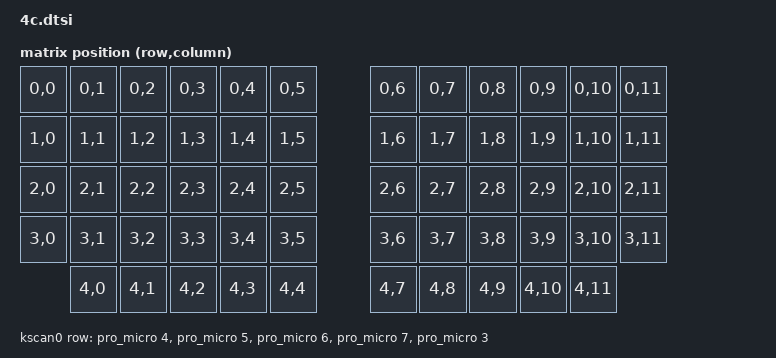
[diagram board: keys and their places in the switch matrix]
/*
https://zmk-physical-layout-converter.streamlit.app/?layout=H4sIAAAAAAACA43RsW7CMBRG4Z2nsDIjlP_euLTMfQvEkAGmSAyAVBTl3TEUBau61WGCXB85jr9xkVIz9Nfj5XxqNmksj2XwvT_0l-E8D-amTLbPSUpjan7KoF21y9RcH_9ympZ_11Wt-zoIrApkQeBV0AbrHW2Qq8DCM5ajQ6GqCF8iq4romHLcoquK8K6UqyI650tDoCHSEGkINEQaQg2hhlBDpCHUEGoINAw0jDSMNAw0jDQMNQw1DDWMNAw1DDUMNBw0nDScNBw0nDQcNRw1HDWcNBw1HDXi237dRY4_JFPw8X7QxcGadvicP-Kf4GsOOgoyimYU_S2ewe7xe3-aFtMNK-NlRcoHAAA%3D

#include <physical_layouts.dtsi>

/ {
    physical_layout0: physical_layout_0 {
        compatible = "zmk,physical-layout";
        display-name = "Default";

        kscan = <&kscan0>;
        transform = <&matrix_transform0>;

        keys  //                     w   h    x    y     rot    rx    ry
            = <&key_physical_attrs 100 100    0   50       0     0     0>
            , <&key_physical_attrs 100 100  100   37       0     0     0>
            , <&key_physical_attrs 100 100  200   12       0     0     0>
            , <&key_physical_attrs 100 100  300    0       0     0     0>
            , <&key_physical_attrs 100 100  400   12       0     0     0>
            , <&key_physical_attrs 100 100  500   25       0     0     0>
            , <&key_physical_attrs 100 100 1050   25       0     0     0>
            , <&key_physical_attrs 100 100 1150   12       0     0     0>
            , <&key_physical_attrs 100 100 1250    0       0     0     0>
            , <&key_physical_attrs 100 100 1350   12       0     0     0>
            , <&key_physical_attrs 100 100 1450   37       0     0     0>
            , <&key_physical_attrs 100 100 1550   50       0     0     0>
            , <&key_physical_attrs 100 100    0  150       0     0     0>
            , <&key_physical_attrs 100 100  100  137       0     0     0>
            , <&key_physical_attrs 100 100  200  112       0     0     0>
            , <&key_physical_attrs 100 100  300  100       0     0     0>
            , <&key_physical_attrs 100 100  400  112       0     0     0>
            , <&key_physical_attrs 100 100  500  125       0     0     0>
            , <&key_physical_attrs 100 100 1050  125       0     0     0>
            , <&key_physical_attrs 100 100 1150  112       0     0     0>
            , <&key_physical_attrs 100 100 1250  100       0     0     0>
            , <&key_physical_attrs 100 100 1350  112       0     0     0>
            , <&key_physical_attrs 100 100 1450  137       0     0     0>
            , <&key_physical_attrs 100 100 1550  150       0     0     0>
            , <&key_physical_attrs 100 100    0  250       0     0     0>
            , <&key_physical_attrs 100 100  100  237       0     0     0>
            , <&key_physical_attrs 100 100  200  212       0     0     0>
            , <&key_physical_attrs 100 100  300  200       0     0     0>
            , <&key_physical_attrs 100 100  400  212       0     0     0>
            , <&key_physical_attrs 100 100  500  225       0     0     0>
            , <&key_physical_attrs 100 100 1050  225       0     0     0>
            , <&key_physical_attrs 100 100 1150  212       0     0     0>
            , <&key_physical_attrs 100 100 1250  200       0     0     0>
            , <&key_physical_attrs 100 100 1350  212       0     0     0>
            , <&key_physical_attrs 100 100 1450  237       0     0     0>
            , <&key_physical_attrs 100 100 1550  250       0     0     0>
            , <&key_physical_attrs 100 100    0  350       0     0     0>
            , <&key_physical_attrs 100 100  100  337       0     0     0>
            , <&key_physical_attrs 100 100  200  312       0     0     0>
            , <&key_physical_attrs 100 100  300  300       0     0     0>
            , <&key_physical_attrs 100 100  400  312       0     0     0>
            , <&key_physical_attrs 100 100  500  325       0     0     0>
            , <&key_physical_attrs 100 100 1050  325       0     0     0>
            , <&key_physical_attrs 100 100 1150  312       0     0     0>
            , <&key_physical_attrs 100 100 1250  300       0     0     0>
            , <&key_physical_attrs 100 100 1350  312       0     0     0>
            , <&key_physical_attrs 100 100 1450  337       0     0     0>
            , <&key_physical_attrs 100 100 1550  350       0     0     0>
            , <&key_physical_attrs 100 100  400  525       0     0     0>
            , <&key_physical_attrs 100 100  500  525       0     0     0>
            , <&key_physical_attrs 100 100  600  525       0     0     0>
            , <&key_physical_attrs 100 100  600  425       0     0     0>
            , <&key_physical_attrs 100 100  700  525       0     0     0>
            , <&key_physical_attrs 100 100  850  525       0     0     0>
            , <&key_physical_attrs 100 100  950  425       0     0     0>
            , <&key_physical_attrs 100 100  950  525       0     0     0>
            , <&key_physical_attrs 100 100 1050  525       0     0     0>
            , <&key_physical_attrs 100 100 1150  525       0     0     0>
            ;
    };
};
*/

#include <dt-bindings/zmk/matrix_transform.h>
/ {
chosen {
    zmk,kscan = &kscan0;
    zmk,matrix-transform = &default_transform;
    zephyr,display = &nice_view_spi;
};

default_transform: keymap_transform_0 {
    compatible = "zmk,matrix-transform";
    columns = <12>;
    rows = <5>;
    map = <
    RC(0,0) RC(0,1) RC(0,2) RC(0,3) RC(0,4) RC(0,5)           RC(0,6) RC(0,7) RC(0,8) RC(0,9) RC(0,10) RC(0,11)
    RC(1,0) RC(1,1) RC(1,2) RC(1,3) RC(1,4) RC(1,5)           RC(1,6) RC(1,7) RC(1,8) RC(1,9) RC(1,10) RC(1,11)
    RC(2,0) RC(2,1) RC(2,2) RC(2,3) RC(2,4) RC(2,5)           RC(2,6) RC(2,7) RC(2,8) RC(2,9) RC(2,10) RC(2,11)
    RC(3,0) RC(3,1) RC(3,2) RC(3,3) RC(3,4) RC(3,5)           RC(3,6) RC(3,7) RC(3,8) RC(3,9) RC(3,10) RC(3,11)
            RC(4,0) RC(4,1) RC(4,2) RC(4,3) RC(4,4)           RC(4,7) RC(4,8) RC(4,9) RC(4,10) RC(4,11)>;
};
kscan0: kscan {
        compatible = "zmk,kscan-gpio-matrix";
        label = "KSCAN";

        diode-direction = "col2row";
        row-gpios
            = <&pro_micro 4 (GPIO_ACTIVE_HIGH | GPIO_PULL_DOWN)> // Row A from the schematic file
            , <&pro_micro 5 (GPIO_ACTIVE_HIGH | GPIO_PULL_DOWN)> // Row B from the schematic file
            , <&pro_micro 6 (GPIO_ACTIVE_HIGH | GPIO_PULL_DOWN)> // Row C from the schematic file
            , <&pro_micro 7 (GPIO_ACTIVE_HIGH | GPIO_PULL_DOWN)> // Row D from the schematic file
            , <&pro_micro 3 (GPIO_ACTIVE_HIGH | GPIO_PULL_DOWN)> // Row E from the schematic file
            ;

	wakeup-source;
    };
};

&pro_micro_i2c {
	status = "disabled";
};

&pinctrl {
	spi0_default: spi0_default {
		group1 {
			psels = <NRF_PSEL(SPIM_SCK, 0, 17)>,
				<NRF_PSEL(SPIM_MOSI, 0, 8)>,
				<NRF_PSEL(SPIM_MISO, 0, 9)>;
		};
	};
    spi0_sleep: spi_sleep {
        group1 {
            psels = <NRF_PSEL(SPIM_SCK, 0, 17)>,
                <NRF_PSEL(SPIM_MOSI, 0, 8)>,
                <NRF_PSEL(SPIM_MISO, 0, 9)>;
            low-power-enable;
        };
    };
};

nice_view_spi: &spi0 {
    compatible = "nordic,nrf-spim";
    status = "okay";
    pinctrl-0 = <&spi0_default>;
    pinctrl-1 = <&spi0_sleep>;
    pinctrl-names = "default", "sleep";
    cs-gpios = <&pro_micro 1 GPIO_ACTIVE_HIGH>;
};
